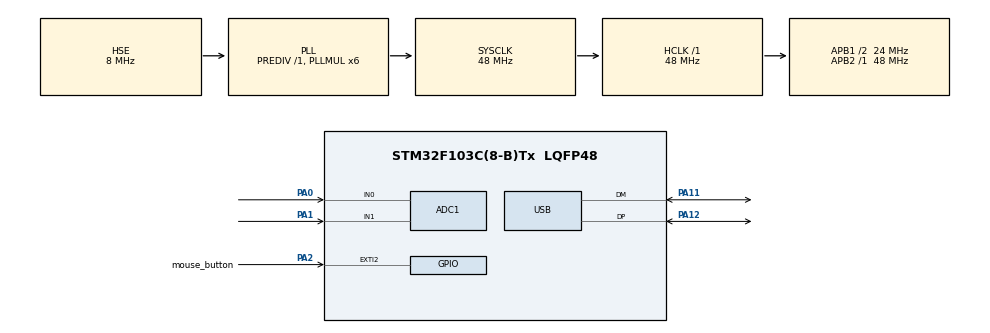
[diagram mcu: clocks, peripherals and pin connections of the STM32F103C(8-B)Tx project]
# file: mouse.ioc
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ADC1.Channel-0\#ChannelRegularConversion=ADC_CHANNEL_0
ADC1.NbrOfConversionFlag=1
ADC1.Rank-0\#ChannelRegularConversion=1
ADC1.SamplingTime-0\#ChannelRegularConversion=ADC_SAMPLETIME_1CYCLE_5
ADC1.master=1
Mcu.Family=STM32F1
Mcu.Name=STM32F103C(8-B)Tx
Mcu.Package=LQFP48
NVIC.EXTI2_IRQn=true\:0\:0\:false\:false\:true\:true\:true\:true
NVIC.PriorityGroup=NVIC_PRIORITYGROUP_4
NVIC.USB_LP_CAN1_RX0_IRQn=true\:0\:0\:false\:false\:true\:false\:true\:true
PA0-WKUP.Signal=SharedAnalog_PA0
PA1.Signal=SharedAnalog_PA1
PA11.Mode=Device
PA11.Signal=USB_DM
PA12.Mode=Device
PA12.Signal=USB_DP
PA13.Mode=Serial_Wire
PA13.Signal=SYS_JTMS-SWDIO
PA14.Mode=Serial_Wire
PA14.Signal=SYS_JTCK-SWCLK
PA2.GPIO_Label=mouse_button
PA2.GPIO_ModeDefaultEXTI=GPIO_MODE_IT_RISING
PA2.GPIO_PuPd=GPIO_PULLUP
PA2.Signal=GPXTI2
PC14-OSC32_IN.Mode=LSE-External-Oscillator
PC14-OSC32_IN.Signal=RCC_OSC32_IN
PC15-OSC32_OUT.Mode=LSE-External-Oscillator
PC15-OSC32_OUT.Signal=RCC_OSC32_OUT
PD0-OSC_IN.Mode=HSE-External-Oscillator
PD0-OSC_IN.Signal=RCC_OSC_IN
PD1-OSC_OUT.Mode=HSE-External-Oscillator
PD1-OSC_OUT.Signal=RCC_OSC_OUT
ProjectManager.HeapSize=0x200
ProjectManager.StackSize=0x400
ProjectManager.TargetToolchain=STM32CubeIDE
RCC.ADCPresc=RCC_ADCPCLK2_DIV4
RCC.AHBFreq_Value=48000000
RCC.APB1CLKDivider=RCC_HCLK_DIV2
RCC.APB1Freq_Value=24000000
RCC.APB1TimFreq_Value=48000000
RCC.APB2Freq_Value=48000000
RCC.APB2TimFreq_Value=48000000
RCC.HCLKFreq_Value=48000000
RCC.PLLMUL=RCC_PLL_MUL6
RCC.SYSCLKFreq_VALUE=48000000
RCC.SYSCLKSource=RCC_SYSCLKSOURCE_PLLCLK
RCC.USBFreq_Value=48000000
SH.SharedAnalog_PA0.0=GPIO_Analog
SH.SharedAnalog_PA0.1=ADC1_IN0,IN0
SH.SharedAnalog_PA1.0=GPIO_Analog
SH.SharedAnalog_PA1.1=ADC1_IN1,IN1
USB_DEVICE.CLASS_NAME_FS=HID
USB_DEVICE.VirtualMode=Hid
USB_DEVICE.VirtualModeFS=Hid_FS
VP_USB_DEVICE_VS_USB_DEVICE_HID_FS.Mode=HID_FS
board=custom

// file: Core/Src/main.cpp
/* USER CODE BEGIN Header */
/**
  ******************************************************************************
  * @file           : main.c
  * @brief          : Main program body
  ******************************************************************************
  * @attention
  *
  * Copyright (c) 2022 STMicroelectronics.
  * All rights reserved.
  *
  * This software is licensed under terms that can be found in the LICENSE file
  * in the root directory of this software component.
  * If no LICENSE file comes with this software, it is provided AS-IS.
  *
  ******************************************************************************
  */
/* USER CODE END Header */
#include "main.h"
#include "usb_device.h"

/* USER CODE BEGIN Includes */
#include "usbd_hid.h"
#include "../../usrlib/joystick.h"
/* USER CODE END Includes */

/* USER CODE BEGIN PTD */
typedef struct{
	union {
		struct {
			uint8_t button;
			int8_t mouse_x;
			int8_t mouse_y;
			int8_t wheel;
		};
		uint8_t data[4];
	};
} mouseHID;

/* USER CODE END PTD */

/* USER CODE BEGIN PD */
#define MOUSE_THRESHOLD 100
/* USER CODE END PD */

ADC_HandleTypeDef hadc1;

/* USER CODE BEGIN PV */

extern USBD_HandleTypeDef hUsbDeviceFS;
mouseHID mousehid = {0,0,0,0};

/* USER CODE END PV */

void SystemClock_Config(void);
static void MX_GPIO_Init(void);
static void MX_ADC1_Init(void);
/* USER CODE BEGIN PFP */

void button() {
		mousehid.button = 1;
		USBD_HID_SendReport(&hUsbDeviceFS, mousehid.data, sizeof(mousehid));
		mousehid.button = 0;
		USBD_HID_SendReport(&hUsbDeviceFS, mousehid.data, sizeof(mousehid));
}

void HAL_GPIO_EXTI_Callback(uint16_t GPIO_Pin) {
	if (mouse_button_Pin == GPIO_Pin) {
		button();
	}
}
/* USER CODE END PFP */

int main(void)
{

  /* MCU Configuration--------------------------------------------------------*/

  /* Reset of all peripherals, Initializes the Flash interface and the Systick. */
  HAL_Init();

  /* USER CODE BEGIN Init */
  JOYSTICK joystick(&hadc1, ADC_CHANNEL_0, ADC_CHANNEL_1);

  /* USER CODE END Init */

  /* Configure the system clock */
  SystemClock_Config();

  /* Initialize all configured peripherals */
  MX_GPIO_Init();
  MX_ADC1_Init();
  MX_USB_DEVICE_Init();
  /* USER CODE BEGIN 2 */
  joystick.offset();

  /* USER CODE END 2 */

  /* Infinite loop */
  /* USER CODE BEGIN WHILE */
  while (1)
  {
	  joystick.readx();
	  joystick.ready();

	  mousehid.mouse_x = joystick.x/150;
	  mousehid.mouse_y = joystick.y/150;

	  USBD_HID_SendReport(&hUsbDeviceFS, mousehid.data, sizeof(mousehid.data));
	  HAL_Delay(20);
    /* USER CODE END WHILE */

  }
}

void SystemClock_Config(void)
{
  RCC_OscInitTypeDef RCC_OscInitStruct = {0};
  RCC_ClkInitTypeDef RCC_ClkInitStruct = {0};
  RCC_PeriphCLKInitTypeDef PeriphClkInit = {0};

  /** Initializes the RCC Oscillators according to the specified parameters
  * in the RCC_OscInitTypeDef structure.
  */
  RCC_OscInitStruct.OscillatorType = RCC_OSCILLATORTYPE_HSE;
  RCC_OscInitStruct.HSEState = RCC_HSE_ON;
  RCC_OscInitStruct.HSEPredivValue = RCC_HSE_PREDIV_DIV1;
  RCC_OscInitStruct.HSIState = RCC_HSI_ON;
  RCC_OscInitStruct.PLL.PLLState = RCC_PLL_ON;
  RCC_OscInitStruct.PLL.PLLSource = RCC_PLLSOURCE_HSE;
  RCC_OscInitStruct.PLL.PLLMUL = RCC_PLL_MUL6;
  if (HAL_RCC_OscConfig(&RCC_OscInitStruct) != HAL_OK)
  {
    Error_Handler();
  }

  /** Initializes the CPU, AHB and APB buses clocks
  */
  RCC_ClkInitStruct.ClockType = RCC_CLOCKTYPE_HCLK|RCC_CLOCKTYPE_SYSCLK
                              |RCC_CLOCKTYPE_PCLK1|RCC_CLOCKTYPE_PCLK2;
  RCC_ClkInitStruct.SYSCLKSource = RCC_SYSCLKSOURCE_PLLCLK;
  RCC_ClkInitStruct.AHBCLKDivider = RCC_SYSCLK_DIV1;
  RCC_ClkInitStruct.APB1CLKDivider = RCC_HCLK_DIV2;
  RCC_ClkInitStruct.APB2CLKDivider = RCC_HCLK_DIV1;

  if (HAL_RCC_ClockConfig(&RCC_ClkInitStruct, FLASH_LATENCY_1) != HAL_OK)
  {
    Error_Handler();
  }
  PeriphClkInit.PeriphClockSelection = RCC_PERIPHCLK_ADC|RCC_PERIPHCLK_USB;
  PeriphClkInit.AdcClockSelection = RCC_ADCPCLK2_DIV4;
  PeriphClkInit.UsbClockSelection = RCC_USBCLKSOURCE_PLL;
  if (HAL_RCCEx_PeriphCLKConfig(&PeriphClkInit) != HAL_OK)
  {
    Error_Handler();
  }
}

static void MX_ADC1_Init(void)
{

  ADC_ChannelConfTypeDef sConfig = {0};

  /** Common config
  */
  hadc1.Instance = ADC1;
  hadc1.Init.ScanConvMode = ADC_SCAN_DISABLE;
  hadc1.Init.ContinuousConvMode = DISABLE;
  hadc1.Init.DiscontinuousConvMode = DISABLE;
  hadc1.Init.ExternalTrigConv = ADC_SOFTWARE_START;
  hadc1.Init.DataAlign = ADC_DATAALIGN_RIGHT;
  hadc1.Init.NbrOfConversion = 1;
  if (HAL_ADC_Init(&hadc1) != HAL_OK)
  {
    Error_Handler();
  }

  /** Configure Regular Channel
  */
  sConfig.Channel = ADC_CHANNEL_0;
  sConfig.Rank = ADC_REGULAR_RANK_1;
  sConfig.SamplingTime = ADC_SAMPLETIME_1CYCLE_5;
  if (HAL_ADC_ConfigChannel(&hadc1, &sConfig) != HAL_OK)
  {
    Error_Handler();
  }

}

static void MX_GPIO_Init(void)
{
  GPIO_InitTypeDef GPIO_InitStruct = {0};

  /* GPIO Ports Clock Enable */
  __HAL_RCC_GPIOC_CLK_ENABLE();
  __HAL_RCC_GPIOD_CLK_ENABLE();
  __HAL_RCC_GPIOA_CLK_ENABLE();

  /*Configure GPIO pin : mouse_button_Pin */
  GPIO_InitStruct.Pin = mouse_button_Pin;
  GPIO_InitStruct.Mode = GPIO_MODE_IT_RISING;
  GPIO_InitStruct.Pull = GPIO_PULLUP;
  HAL_GPIO_Init(mouse_button_GPIO_Port, &GPIO_InitStruct);

  /* EXTI interrupt init*/
  HAL_NVIC_SetPriority(EXTI2_IRQn, 0, 0);
  HAL_NVIC_EnableIRQ(EXTI2_IRQn);

}

void Error_Handler(void)
{
  __disable_irq();
  while (1)
  {
  }
}
